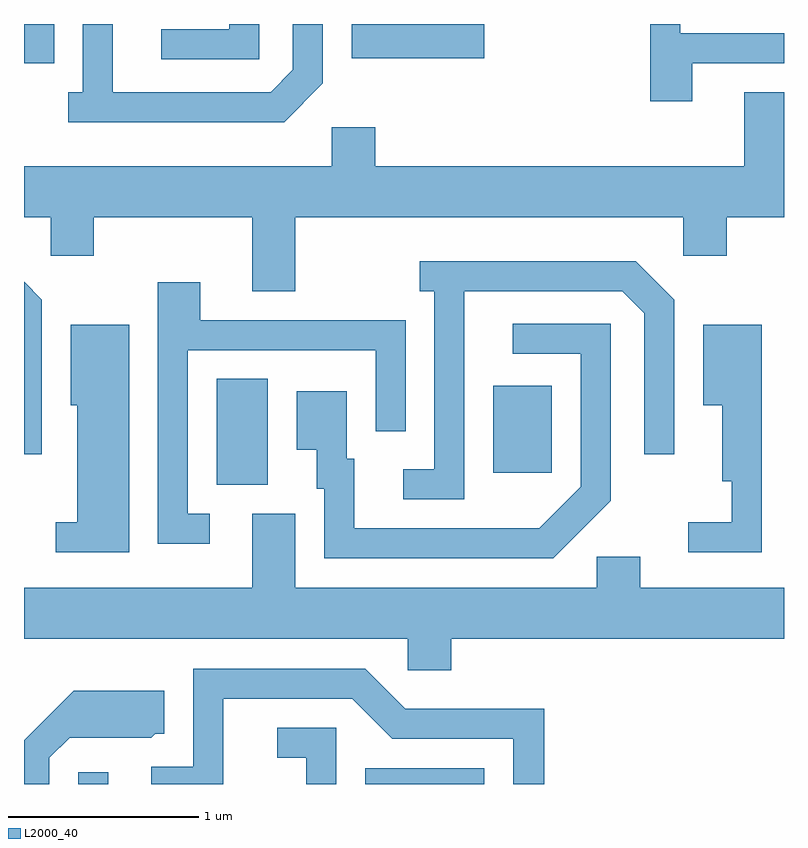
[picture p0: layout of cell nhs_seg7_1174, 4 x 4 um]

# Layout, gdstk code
import gdstk
lib = gdstk.Library(unit=1e-6, precision=1e-09)
def R(c, l, rs):  # rectangles x0, y0, x1, y1
    for r in rs: c.add(gdstk.rectangle(r[:2], r[2:], *l))
def P(c, l, *ps):  # polygons
    for p in ps: c.add(gdstk.Polygon(p, *l))
L2000_40 = (2000, 40)

nhs_seg7_1174 = lib.new_cell('nhs_seg7_1174')
R(nhs_seg7_1174, L2000_40, [(221.896,1680.252,222.054,1680.313), (223.406,1680.252,224.034,1680.334), (222.626,1681.826,222.894,1682.384), (224.081,1681.891,224.389,1682.349), (221.611,1684.046,221.769,1684.252), (223.336,1684.071,224.034,1684.252)])
P(nhs_seg7_1174, L2000_40, [(225.129,1684.046),(225.611,1684.046),(225.611,1684.204),(225.064,1684.204),(225.064,1684.252),(224.906,1684.252),(224.906,1683.846),(225.129,1683.846)],
  [(223.184,1683.939),(223.184,1684.252),(223.026,1684.252),(223.026,1684.012),(222.909,1683.894),(222.079,1683.894),(222.079,1684.252),(221.921,1684.252),(221.921,1683.894),(221.843,1683.894),(221.843,1683.736),(222.982,1683.736)],
  [(222.849,1684.252),(222.691,1684.252),(222.691,1684.224),(222.333,1684.224),(222.333,1684.066),(222.849,1684.066)],
  [(223.039,1683.236),(225.081,1683.236),(225.081,1683.031),(225.309,1683.031),(225.309,1683.236),(225.611,1683.236),(225.611,1683.894),(225.401,1683.894),(225.401,1683.504),(223.459,1683.504),(223.459,1683.709),(223.231,1683.709),(223.231,1683.504),(221.611,1683.504),(221.611,1683.236),(221.751,1683.236),(221.751,1683.031),(221.979,1683.031),(221.979,1683.236),(222.811,1683.236),(222.811,1682.846),(223.039,1682.846)],
  [(223.929,1682.846),(224.759,1682.846),(224.876,1682.729),(224.876,1681.988),(225.034,1681.988),(225.034,1682.802),(224.832,1683.004),(223.693,1683.004),(223.693,1682.846),(223.771,1682.846),(223.771,1681.909),(223.608,1681.909),(223.608,1681.751),(223.929,1681.751)],
  [(221.704,1682.802),(221.611,1682.895),(221.611,1681.988),(221.704,1681.988)],
  [(222.588,1681.674),(222.474,1681.674),(222.474,1682.536),(223.461,1682.536),(223.461,1682.108),(223.619,1682.108),(223.619,1682.694),(222.539,1682.694),(222.539,1682.894),(222.316,1682.894),(222.316,1681.516),(222.588,1681.516)],
  [(224.699,1681.744),(224.699,1682.674),(224.183,1682.674),(224.183,1682.516),(224.541,1682.516),(224.541,1681.817),(224.324,1681.599),(223.349,1681.599),(223.349,1681.964),(223.309,1681.964),(223.309,1682.319),(223.046,1682.319),(223.046,1682.011),(223.151,1682.011),(223.151,1681.806),(223.191,1681.806),(223.191,1681.441),(224.397,1681.441)],
  [(222.164,1682.669),(221.856,1682.669),(221.856,1682.246),(221.891,1682.246),(221.891,1681.629),(221.778,1681.629),(221.778,1681.471),(222.164,1681.471)],
  [(225.494,1682.669),(225.186,1682.669),(225.186,1682.246),(225.286,1682.246),(225.286,1681.846),(225.336,1681.846),(225.336,1681.629),(225.108,1681.629),(225.108,1681.471),(225.494,1681.471)],
  [(223.859,1681.016),(225.611,1681.016),(225.611,1681.284),(224.854,1681.284),(224.854,1681.449),(224.626,1681.449),(224.626,1681.284),(223.039,1681.284),(223.039,1681.674),(222.811,1681.674),(222.811,1681.284),(221.611,1681.284),(221.611,1681.016),(223.631,1681.016),(223.631,1680.851),(223.859,1680.851)],
  [(222.659,1680.701),(223.339,1680.701),(223.549,1680.491),(224.186,1680.491),(224.186,1680.252),(224.349,1680.252),(224.349,1680.649),(223.617,1680.649),(223.407,1680.859),(222.501,1680.859),(222.501,1680.344),(222.281,1680.344),(222.281,1680.252),(222.659,1680.252)],
  [(221.744,1680.389),(221.852,1680.496),(222.282,1680.496),(222.302,1680.516),(222.349,1680.516),(222.349,1680.744),(221.874,1680.744),(221.611,1680.482),(221.611,1680.252),(221.744,1680.252)],
  [(223.254,1680.549),(222.943,1680.549),(222.943,1680.391),(223.096,1680.391),(223.096,1680.252),(223.254,1680.252)])

lib.write_gds('nhs_seg7_1174.gds')
